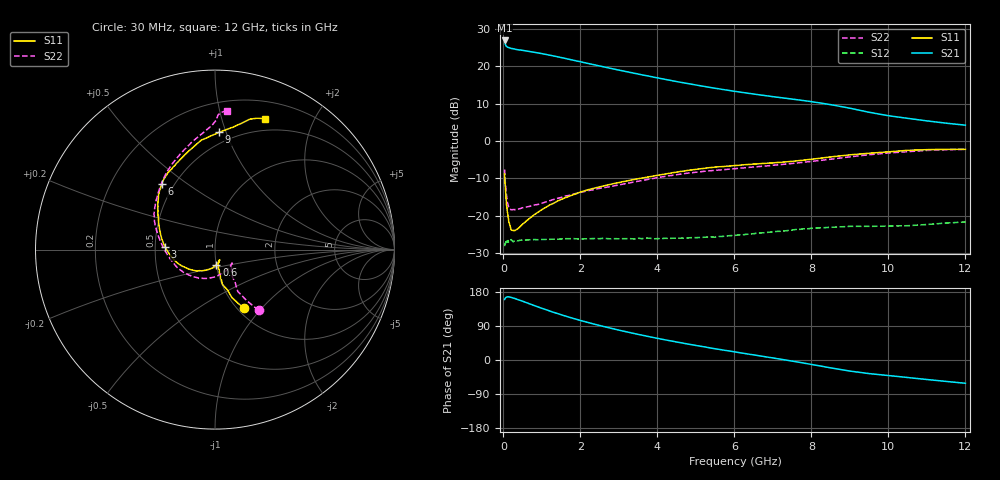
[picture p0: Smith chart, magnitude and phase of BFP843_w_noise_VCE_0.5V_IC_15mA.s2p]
! Infineon Technologies  Discrete & RF Semiconductors
! BFP843
! VCE =  0.5 V,  IC =  15 mA
! Common Emitter S-Parameters:  Aug 2013
# GHz  S  MA  R  50
!  f  S11  S21  S12  S22
! GHz  MAG  ANG  MAG  ANG  MAG  ANG  MAG  ANG
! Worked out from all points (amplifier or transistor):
!   103 points, 30 MHz to 12 GHz, reference 50 ohm
!   highest |S21| = 27.0 dB at 30 MHz (marker M1)
!   |S21| within 3 dB of that: start of sweep to 703.2 MHz
!   unconditionally stable (mu >= 1): 127.2 MHz to 11.85 GHz
!   at 400 MHz: K = 1.02, MAG = 24.7 dB, |S12| = -26.7 dB
!   at 3.7 GHz: K = 1.26, MAG = 18.7 dB, |S12| = -26.0 dB
!   at 12 GHz: K = 0.99, MSG = 13.0 dB, |S12| = -21.7 dB
!   lowest NFmin = 0.97 dB at 450 MHz
!   S11 on the Smith chart (normalised r, x): 30 MHz: 1.07, -0.80; 600 MHz: 1.00, -0.17; 3 GHz: 0.57, +0.02; 6 GHz: 0.43, +0.40; 9 GHz: 0.41, +0.95; 12 GHz: 0.38, +1.38
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0.03  0.3629 -64.0  22.3 159.8  0.0391 28.9  0.4169 -54.4
0.04  0.2835 -70.6  20.67 161.3  0.042 21.3  0.3305 -58.3
0.05  0.2344 -72.9  19.77 163.8  0.0422 11.2  0.2651 -61.4
0.07  0.1628 -78.1  18.72 165.5  0.0434 17.0  0.2071 -57.8
0.13  0.0919 -76.7  17.97 166.8  0.0444 7.3  0.1334 -47.3
0.6  0.0854 -84.9  16.1 151.2  0.0473 3.4  0.1308 -56.6
0.9  0.1115 -104.3  15.16 140.0  0.0477 1.9  0.1418 -78.8
1.3  0.1467 -126.9  13.84 125.9  0.0486 1.4  0.1651 -103.9
1.6  0.1739 -139.7  12.84 116.3  0.0493 1.4  0.1835 -119.5
2.1  0.2152 -157.7  11.25 101.6  0.049 -0.3  0.2106 -141.1
2.5  0.2435 -169.8  10.14 91.0  0.0493 -1.4  0.2328 -154.5
3  0.2777 176.9  8.932 78.8  0.049 -1.2  0.258 -170.1
3.5  0.313 164.9  7.911 67.6  0.0499 -1.3  0.2898 177.2
4.1  0.3549 152.6  6.867 55.2  0.0493 -0.8  0.3303 165.0
5  0.4185 139.2  5.644 38.4  0.0509 0.7  0.3826 152.2
6  0.47 129.1  4.651 21.6  0.0543 1.4  0.4263 140.4
6.1  0.4737 128.4  4.571 19.9  0.0554 1.0  0.4309 139.1
7.3  0.5255 114.2  3.766 0.4  0.0626 -0.9  0.4899 125.6
8.5  0.6136 97.3  3.078 -20.7  0.0699 -7.7  0.5711 109.2
9  0.6546 87.9  2.758 -29.2  0.072 -10.7  0.6152 101.8
10.5  0.7519 75.1  2.018 -46.2  0.0735 -15.6  0.7208 89.5
12  0.776 69.1  1.633 -61.4  0.0825 -20.8  0.7747 85.2
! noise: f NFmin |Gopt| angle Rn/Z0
0.45  0.97  0.07  -172  0.03
0.9  0.97  0.08  -164  0.06
1.5  0.99  0.08  -156  0.12
1.9  1.01  0.08  -146  0.18
2.4  1.04  0.07  -134  0.26
3.5  1.09  0.07  -115  0.29
5.5  1.2  0.21  -114  0.36
10  1.8  0.51  -63  0.48
